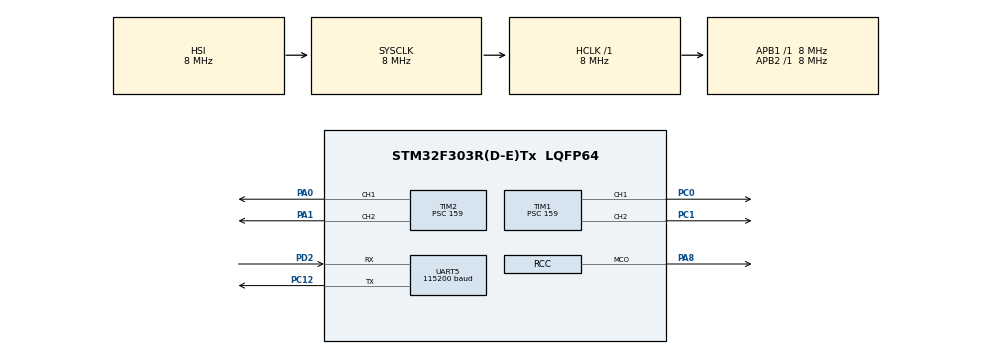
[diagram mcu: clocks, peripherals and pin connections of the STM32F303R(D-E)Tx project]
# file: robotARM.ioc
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Mcu.Family=STM32F3
Mcu.Name=STM32F303R(D-E)Tx
Mcu.Package=LQFP64
NVIC.PriorityGroup=NVIC_PRIORITYGROUP_4
PA0.Signal=S_TIM2_CH1_ETR
PA1.Signal=S_TIM2_CH2
PA8.Mode=Clock-out
PA8.Signal=RCC_MCO
PC0.Signal=S_TIM1_CH1
PC1.Signal=S_TIM1_CH2
PC12.Mode=Asynchronous
PC12.Signal=UART5_TX
PD2.Mode=Asynchronous
PD2.Signal=UART5_RX
PF0-OSC_IN.Mode=HSE-External-Oscillator
PF0-OSC_IN.Signal=RCC_OSC_IN
PF1-OSC_OUT.Mode=HSE-External-Oscillator
PF1-OSC_OUT.Signal=RCC_OSC_OUT
ProjectManager.HeapSize=0x200
ProjectManager.StackSize=0x400
ProjectManager.TargetToolchain=STM32CubeIDE
RCC.AHBFreq_Value=8000000
RCC.APB1Freq_Value=8000000
RCC.APB2Freq_Value=8000000
RCC.CortexFreq_Value=8000000
RCC.HSE_VALUE=8000000
RCC.HSI_VALUE=8000000
RCC.LSE_VALUE=32768
RCC.SYSCLKFreq_VALUE=8000000
RCC.USBFreq_Value=16000000
SH.S_TIM1_CH1.0=TIM1_CH1,PWM Generation1 CH1
SH.S_TIM1_CH2.0=TIM1_CH2,PWM Generation2 CH2
SH.S_TIM2_CH1_ETR.0=TIM2_CH1,PWM Generation1 CH1
SH.S_TIM2_CH2.0=TIM2_CH2,PWM Generation2 CH2
TIM1.Channel-PWM\ Generation1\ CH1=TIM_CHANNEL_1
TIM1.Channel-PWM\ Generation2\ CH2=TIM_CHANNEL_2
TIM1.Period=999
TIM1.Prescaler=159
TIM2.Channel-PWM\ Generation1\ CH1=TIM_CHANNEL_1
TIM2.Channel-PWM\ Generation2\ CH2=TIM_CHANNEL_2
TIM2.Period=999
TIM2.Prescaler=159
UART5.BaudRate=115200
VP_TIM1_VS_ClockSourceINT.Mode=Internal
VP_TIM2_VS_ClockSourceINT.Mode=Internal
board=custom

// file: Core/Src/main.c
/* USER CODE BEGIN Header */
/**
  ******************************************************************************
  * @file           : main.c
  * @brief          : Main program body
  ******************************************************************************
  * @attention
  *
  * <h2><center>&copy; Copyright (c) 2020 STMicroelectronics.
  * All rights reserved.</center></h2>
  *
  * This software component is licensed by ST under BSD 3-Clause license,
  * the "License"; You may not use this file except in compliance with the
  * License. You may obtain a copy of the License at:
  *                        opensource.org/licenses/BSD-3-Clause
  *
  ******************************************************************************
  */
/* USER CODE END Header */

#include "main.h"

/* USER CODE BEGIN Includes */
#include <math.h>
#include <stdio.h>
/* USER CODE END Includes */

TIM_HandleTypeDef htim1;
TIM_HandleTypeDef htim2;

UART_HandleTypeDef huart5;

/* USER CODE BEGIN PV */
char Rx_indx, Rx_data[2], Rx_Buffer[100]={0}, Transfer_cplt;
int Pos[3];   //Pos[0-R, 1-T, 2-P]
const float PI=3.141593;
/* USER CODE END PV */

void SystemClock_Config(void);
static void MX_GPIO_Init(void);
static void MX_TIM1_Init(void);
static void MX_TIM2_Init(void);
static void MX_UART5_Init(void);

/* USER CODE BEGIN 0 */
void Move_Motor(char, int);
void calc3DSpace(int, int, int);
void cartesianToRadial(int, int, int);
/* USER CODE END 0 */

int main(void)
{
  /* USER CODE BEGIN 1 */
	char choice;
  /* USER CODE END 1 */

  /* MCU Configuration--------------------------------------------------------*/

  /* Reset of all peripherals, Initializes the Flash interface and the Systick. */
  HAL_Init();

  /* Configure the system clock */
  SystemClock_Config();

  /* Initialize all configured peripherals */
  MX_GPIO_Init();
  MX_TIM1_Init();
  MX_TIM2_Init();
  MX_UART5_Init();
  /* USER CODE BEGIN 2 */
    HAL_TIM_PWM_Start(&htim1,TIM_CHANNEL_1);   //Using 2 timers with 2 channels each for 4 different servo motors
  	HAL_TIM_PWM_Start(&htim1,TIM_CHANNEL_2);
  	HAL_TIM_PWM_Start(&htim2,TIM_CHANNEL_1);
  	HAL_TIM_PWM_Start(&htim2,TIM_CHANNEL_2);

  //	Move_Motor(choice, distance);

  /* USER CODE END 2 */

  /* Infinite loop */
  while (1)
  {

    /* USER CODE BEGIN 3 */
	//sprintf(msg, "%f\r\n", value);
	//HAL_UART_Transmit(&huart5, (uint8_t *) msg, 10, 100);

	//HAL_UART_Receive_IT(&huart5,(uint8_t *)&choice, sizeof(choice));
    HAL_UART_Receive_IT(&huart5, Rx_data, 1);

    HAL_UART_Transmit(&huart5, Rx_data, strlen(Rx_data), 100);
	int in1, in2, in3; char op;

    if (op == 'r'){
    	calc3DSpace(in1, in2, in3);
    }
    if (op == 'r'){
    	cartesianToRadial(in1, in2, in3);
    }

  }

  /* USER CODE END 3 */
}

void SystemClock_Config(void)
{
  RCC_OscInitTypeDef RCC_OscInitStruct = {0};
  RCC_ClkInitTypeDef RCC_ClkInitStruct = {0};
  RCC_PeriphCLKInitTypeDef PeriphClkInit = {0};

  /** Initializes the CPU, AHB and APB busses clocks
  */
  RCC_OscInitStruct.OscillatorType = RCC_OSCILLATORTYPE_HSI;
  RCC_OscInitStruct.HSIState = RCC_HSI_ON;
  RCC_OscInitStruct.HSICalibrationValue = RCC_HSICALIBRATION_DEFAULT;
  RCC_OscInitStruct.PLL.PLLState = RCC_PLL_NONE;
  if (HAL_RCC_OscConfig(&RCC_OscInitStruct) != HAL_OK)
  {
    Error_Handler();
  }
  /** Initializes the CPU, AHB and APB busses clocks
  */
  RCC_ClkInitStruct.ClockType = RCC_CLOCKTYPE_HCLK|RCC_CLOCKTYPE_SYSCLK
                              |RCC_CLOCKTYPE_PCLK1|RCC_CLOCKTYPE_PCLK2;
  RCC_ClkInitStruct.SYSCLKSource = RCC_SYSCLKSOURCE_HSI;
  RCC_ClkInitStruct.AHBCLKDivider = RCC_SYSCLK_DIV1;
  RCC_ClkInitStruct.APB1CLKDivider = RCC_HCLK_DIV1;
  RCC_ClkInitStruct.APB2CLKDivider = RCC_HCLK_DIV1;

  if (HAL_RCC_ClockConfig(&RCC_ClkInitStruct, FLASH_LATENCY_0) != HAL_OK)
  {
    Error_Handler();
  }
  PeriphClkInit.PeriphClockSelection = RCC_PERIPHCLK_UART5|RCC_PERIPHCLK_TIM1
                              |RCC_PERIPHCLK_TIM2;
  PeriphClkInit.Uart5ClockSelection = RCC_UART5CLKSOURCE_PCLK1;
  PeriphClkInit.Tim1ClockSelection = RCC_TIM1CLK_HCLK;
  PeriphClkInit.Tim2ClockSelection = RCC_TIM2CLK_HCLK;
  if (HAL_RCCEx_PeriphCLKConfig(&PeriphClkInit) != HAL_OK)
  {
    Error_Handler();
  }
  HAL_RCC_MCOConfig(RCC_MCO, RCC_MCO1SOURCE_SYSCLK, RCC_MCODIV_1);
}

static void MX_TIM1_Init(void)
{

  TIM_ClockConfigTypeDef sClockSourceConfig = {0};
  TIM_MasterConfigTypeDef sMasterConfig = {0};
  TIM_OC_InitTypeDef sConfigOC = {0};
  TIM_BreakDeadTimeConfigTypeDef sBreakDeadTimeConfig = {0};

  htim1.Instance = TIM1;
  htim1.Init.Prescaler = 159;
  htim1.Init.CounterMode = TIM_COUNTERMODE_UP;
  htim1.Init.Period = 999;
  htim1.Init.ClockDivision = TIM_CLOCKDIVISION_DIV1;
  htim1.Init.RepetitionCounter = 0;
  htim1.Init.AutoReloadPreload = TIM_AUTORELOAD_PRELOAD_DISABLE;
  if (HAL_TIM_Base_Init(&htim1) != HAL_OK)
  {
    Error_Handler();
  }
  sClockSourceConfig.ClockSource = TIM_CLOCKSOURCE_INTERNAL;
  if (HAL_TIM_ConfigClockSource(&htim1, &sClockSourceConfig) != HAL_OK)
  {
    Error_Handler();
  }
  if (HAL_TIM_PWM_Init(&htim1) != HAL_OK)
  {
    Error_Handler();
  }
  sMasterConfig.MasterOutputTrigger = TIM_TRGO_RESET;
  sMasterConfig.MasterOutputTrigger2 = TIM_TRGO2_RESET;
  sMasterConfig.MasterSlaveMode = TIM_MASTERSLAVEMODE_DISABLE;
  if (HAL_TIMEx_MasterConfigSynchronization(&htim1, &sMasterConfig) != HAL_OK)
  {
    Error_Handler();
  }
  sConfigOC.OCMode = TIM_OCMODE_PWM1;
  sConfigOC.Pulse = 0;
  sConfigOC.OCPolarity = TIM_OCPOLARITY_HIGH;
  sConfigOC.OCNPolarity = TIM_OCNPOLARITY_HIGH;
  sConfigOC.OCFastMode = TIM_OCFAST_DISABLE;
  sConfigOC.OCIdleState = TIM_OCIDLESTATE_RESET;
  sConfigOC.OCNIdleState = TIM_OCNIDLESTATE_RESET;
  if (HAL_TIM_PWM_ConfigChannel(&htim1, &sConfigOC, TIM_CHANNEL_1) != HAL_OK)
  {
    Error_Handler();
  }
  if (HAL_TIM_PWM_ConfigChannel(&htim1, &sConfigOC, TIM_CHANNEL_2) != HAL_OK)
  {
    Error_Handler();
  }
  sBreakDeadTimeConfig.OffStateRunMode = TIM_OSSR_DISABLE;
  sBreakDeadTimeConfig.OffStateIDLEMode = TIM_OSSI_DISABLE;
  sBreakDeadTimeConfig.LockLevel = TIM_LOCKLEVEL_OFF;
  sBreakDeadTimeConfig.DeadTime = 0;
  sBreakDeadTimeConfig.BreakState = TIM_BREAK_DISABLE;
  sBreakDeadTimeConfig.BreakPolarity = TIM_BREAKPOLARITY_HIGH;
  sBreakDeadTimeConfig.BreakFilter = 0;
  sBreakDeadTimeConfig.Break2State = TIM_BREAK2_DISABLE;
  sBreakDeadTimeConfig.Break2Polarity = TIM_BREAK2POLARITY_HIGH;
  sBreakDeadTimeConfig.Break2Filter = 0;
  sBreakDeadTimeConfig.AutomaticOutput = TIM_AUTOMATICOUTPUT_DISABLE;
  if (HAL_TIMEx_ConfigBreakDeadTime(&htim1, &sBreakDeadTimeConfig) != HAL_OK)
  {
    Error_Handler();
  }
  HAL_TIM_MspPostInit(&htim1);

}

static void MX_TIM2_Init(void)
{

  TIM_ClockConfigTypeDef sClockSourceConfig = {0};
  TIM_MasterConfigTypeDef sMasterConfig = {0};
  TIM_OC_InitTypeDef sConfigOC = {0};

  htim2.Instance = TIM2;
  htim2.Init.Prescaler = 159;
  htim2.Init.CounterMode = TIM_COUNTERMODE_UP;
  htim2.Init.Period = 999;
  htim2.Init.ClockDivision = TIM_CLOCKDIVISION_DIV1;
  htim2.Init.AutoReloadPreload = TIM_AUTORELOAD_PRELOAD_DISABLE;
  if (HAL_TIM_Base_Init(&htim2) != HAL_OK)
  {
    Error_Handler();
  }
  sClockSourceConfig.ClockSource = TIM_CLOCKSOURCE_INTERNAL;
  if (HAL_TIM_ConfigClockSource(&htim2, &sClockSourceConfig) != HAL_OK)
  {
    Error_Handler();
  }
  if (HAL_TIM_PWM_Init(&htim2) != HAL_OK)
  {
    Error_Handler();
  }
  sMasterConfig.MasterOutputTrigger = TIM_TRGO_RESET;
  sMasterConfig.MasterSlaveMode = TIM_MASTERSLAVEMODE_DISABLE;
  if (HAL_TIMEx_MasterConfigSynchronization(&htim2, &sMasterConfig) != HAL_OK)
  {
    Error_Handler();
  }
  sConfigOC.OCMode = TIM_OCMODE_PWM1;
  sConfigOC.Pulse = 0;
  sConfigOC.OCPolarity = TIM_OCPOLARITY_HIGH;
  sConfigOC.OCFastMode = TIM_OCFAST_DISABLE;
  if (HAL_TIM_PWM_ConfigChannel(&htim2, &sConfigOC, TIM_CHANNEL_1) != HAL_OK)
  {
    Error_Handler();
  }
  if (HAL_TIM_PWM_ConfigChannel(&htim2, &sConfigOC, TIM_CHANNEL_2) != HAL_OK)
  {
    Error_Handler();
  }
  HAL_TIM_MspPostInit(&htim2);

}

static void MX_UART5_Init(void)
{

  huart5.Instance = UART5;
  huart5.Init.BaudRate = 115200;
  huart5.Init.WordLength = UART_WORDLENGTH_8B;
  huart5.Init.StopBits = UART_STOPBITS_1;
  huart5.Init.Parity = UART_PARITY_NONE;
  huart5.Init.Mode = UART_MODE_TX_RX;
  huart5.Init.HwFlowCtl = UART_HWCONTROL_NONE;
  huart5.Init.OverSampling = UART_OVERSAMPLING_16;
  huart5.Init.OneBitSampling = UART_ONE_BIT_SAMPLE_DISABLE;
  huart5.AdvancedInit.AdvFeatureInit = UART_ADVFEATURE_NO_INIT;
  if (HAL_UART_Init(&huart5) != HAL_OK)
  {
    Error_Handler();
  }

}

static void MX_GPIO_Init(void)
{
  GPIO_InitTypeDef GPIO_InitStruct = {0};

  /* GPIO Ports Clock Enable */
  __HAL_RCC_GPIOF_CLK_ENABLE();
  __HAL_RCC_GPIOC_CLK_ENABLE();
  __HAL_RCC_GPIOA_CLK_ENABLE();
  __HAL_RCC_GPIOD_CLK_ENABLE();

  /*Configure GPIO pin : PA8 */
  GPIO_InitStruct.Pin = GPIO_PIN_8;
  GPIO_InitStruct.Mode = GPIO_MODE_AF_PP;
  GPIO_InitStruct.Pull = GPIO_NOPULL;
  GPIO_InitStruct.Speed = GPIO_SPEED_FREQ_LOW;
  GPIO_InitStruct.Alternate = GPIO_AF0_TRACE;
  HAL_GPIO_Init(GPIOA, &GPIO_InitStruct);

}

/* USER CODE BEGIN 4 */
void Move_Motor(char choice, int distance)  //distance factoring needs to done post physical testing
{
  switch(choice){
    case 'r': TIM1->CCR1=distance;  //for rotate-right
              HAL_Delay(500);
    case 'l': TIM1->CCR1=distance;    //for rotate-left
              HAL_Delay(500);
    case 'd': TIM1->CCR2=distance;  //move down
              HAL_Delay(500);
    case 'u': TIM1->CCR2=distance;  //move up
              HAL_Delay(500);
    case 'b': TIM2->CCR1=distance;  //move back
              HAL_Delay(500);
    case 'f': TIM2->CCR1=distance;  //move forward
              HAL_Delay(500);
    case 'h': TIM2->CCR2=distance;  //HOLD OBJECT
              HAL_Delay(500);
    case 'g': TIM2->CCR2=distance;  //DROP GROUND
              HAL_Delay(500);
    default: return;
    return;
  }

}
//co-ordinates in relative terms
void calc3DSpace(int R, int T, int P)  //co-odinates in R, Theta and Phi
{
  //Pos[0-R, 1-T, 2-P]
  int t=(T/360)*50;  //set parameters for r
  int p=(P/360)*50; //set parameters for base motor for phi
  if (T>0)
  {
    Move_Motor('r', Pos[1]+t);
    Pos[1]+=t;
  }
  if (T<0)
  {
    Move_Motor('l', Pos[1]-t);
    Pos[1]-=t;
  }
  int k;
  if (R<0)
  {
	float i=acos(R/Pos[0]);			//refer to calculations for computing distance vector
	k = i/(2*PI)*50;
    Move_Motor('b', Pos[2]-(k/2));
    Move_Motor('u', Pos[0]+k);		//assumption that both the arms of the robot are equal in length
    Pos[2]-=k/2;
    Pos[0]+=k;
  }
  if (R>0)
  {
	float i=acos(R/Pos[0]);
	k = i/(2*PI)*50;
	Move_Motor('f',Pos[2]+(k/2));
	Move_Motor('d',Pos[0]-k);
	Pos[2]+=k/2;
	Pos[0]-=k;
  }

  if (P>0)
  {
    Move_Motor('f', Pos[2]+p);
    Pos[2]+=t;
  }
  if (P<0)
  {
    Move_Motor('b', Pos[2]-p);
    Pos[2]-=t;
  }
}

void cartesianToRadial(int x, int y, int z){
	int dist= (x^2)+(y^2)+(z^2);
	int thet= (atan(x/y)/(2*PI))*360;
	int phi=  (atan(((x^2) + (y^2))/z)/(2*PI))*360;
	calc3DSpace(dist, thet, phi);
}
/* USER CODE END 4 */

void Error_Handler(void)
{
}

/************************ (C) COPYRIGHT STMicroelectronics *****END OF FILE****/
